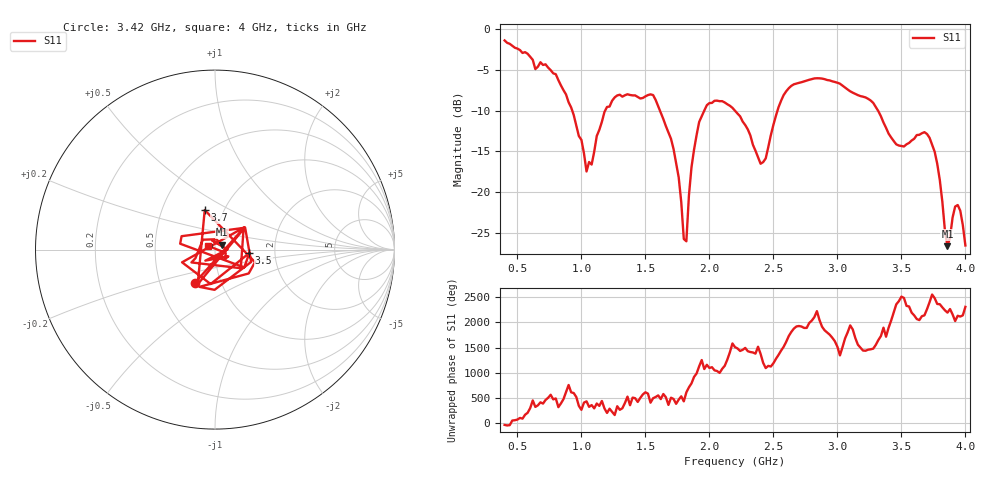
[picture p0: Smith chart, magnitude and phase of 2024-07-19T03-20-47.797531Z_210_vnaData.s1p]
!Created with skrf (http://scikit-rf.org).
# Hz S RI R 50.0
!freq ReS11 ImS11
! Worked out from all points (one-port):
!   181 points, 400 MHz to 4 GHz, reference 50 ohm
!   lowest |S11| = -26.6 dB at 3.86 GHz (marker M1), VSWR 1.10, Z = 53.8 + j2.97 ohm
!   |S11| at or under -10 dB: 1.614 GHz to 1.959 GHz (345.5 MHz wide, 19.3 % of centre); 2.2 GHz to 2.532 GHz (331.5 MHz wide, 14 % of centre); 3.318 GHz to end of sweep (the widest 3 of 4)
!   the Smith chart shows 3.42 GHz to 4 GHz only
!   S11 on the Smith chart (normalised r, x): 3.42 GHz: 0.75, -0.29; 3.5 GHz: 1.47, -0.06; 3.7 GHz: 0.81, +0.38; 4 GHz: 0.92, +0.04
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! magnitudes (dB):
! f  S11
! 400 MHz  -1.4
! 860 MHz  -7.5
! 1 GHz  -13.6
! 1.04 GHz  -17.5
! 1.18 GHz  -10.2
! 1.3 GHz  -8.0
! 1.56 GHz  -8.1
! 1.7 GHz  -13.4
! 1.76 GHz  -18.2
! 1.8 GHz  -25.7
! 1.82 GHz  -26.0
! 1.86 GHz  -16.9
! 1.92 GHz  -11.4
! 2.04 GHz  -8.8
! 2.2 GHz  -10.0
! 2.4 GHz  -16.5
! 2.56 GHz  -8.8
! 2.66 GHz  -6.8
! 3.1 GHz  -7.6
! 3.28 GHz  -9.0
! 3.42 GHz  -13.3
! 3.5 GHz  -14.3
! 3.56 GHz  -14.0
! 3.7 GHz  -12.9
! 3.78 GHz  -16.5
! 3.86 GHz  -26.6
! 3.94 GHz  -21.6
! 4 GHz  -26.5
